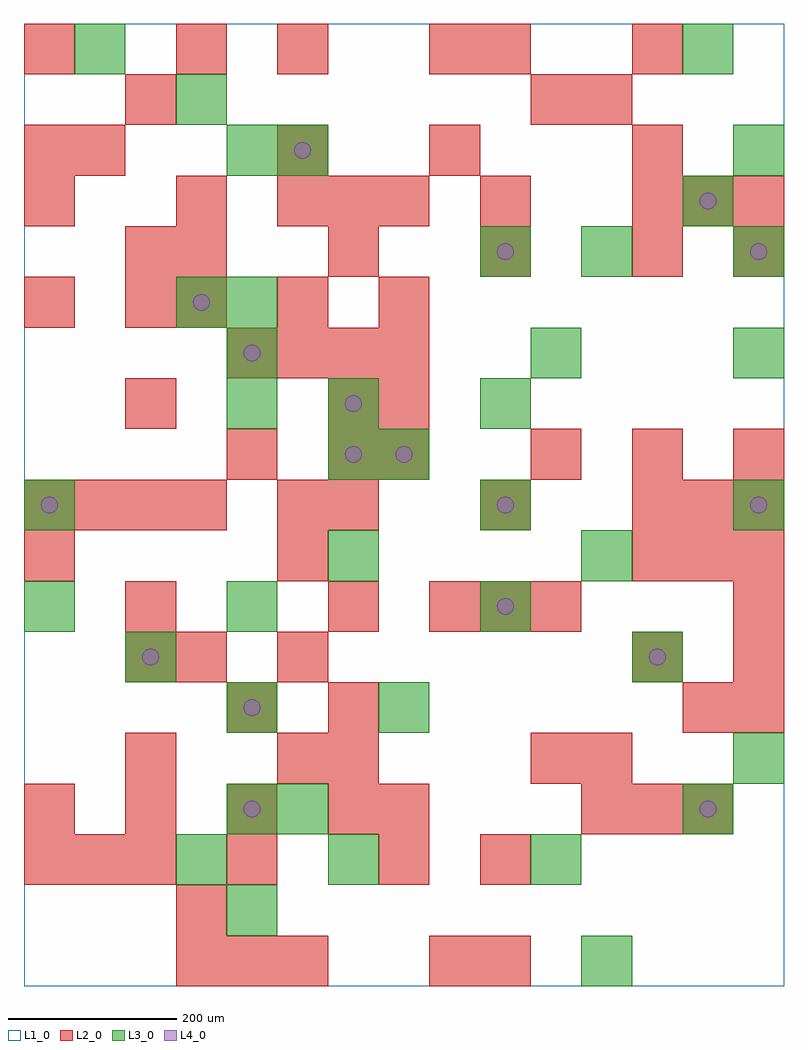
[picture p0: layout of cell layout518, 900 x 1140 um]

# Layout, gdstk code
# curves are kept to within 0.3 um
import gdstk
lib = gdstk.Library(unit=1e-6, precision=1e-09)
def R(c, l, rs):  # rectangles x0, y0, x1, y1
    for r in rs: c.add(gdstk.rectangle(r[:2], r[2:], *l))
def A(c, l, x, y, w, h, nx, ny, dx, dy):  # array of equal rectangles
    R(c, l, [(x+i*dx, y+j*dy, x+i*dx+w, y+j*dy+h) for i in range(nx) for j in range(ny)])
def P(c, l, *ps):  # polygons
    for p in ps: c.add(gdstk.Polygon(p, *l))
L1_0 = (1, 0)
L2_0 = (2, 0)
L3_0 = (3, 0)
L4_0 = (4, 0)

layout518 = lib.new_cell('layout518')
R(layout518, L1_0, [(0,0,900,1140)])
A(layout518, L2_0, 180, 0, 60, 60, 3, 1, 60, 0)
A(layout518, L2_0, 0, 120, 60, 60, 3, 1, 60, 0)
A(layout518, L2_0, 0, 180, 60, 60, 4, 1, 120, 0)
A(layout518, L2_0, 660, 180, 60, 60, 3, 1, 60, 0)
A(layout518, L2_0, 300, 240, 60, 60, 1, 3, 0, 120)
A(layout518, L2_0, 840, 300, 60, 60, 1, 3, 0, 60)
A(layout518, L2_0, 480, 420, 60, 60, 3, 1, 60, 0)
A(layout518, L2_0, 720, 480, 60, 60, 3, 2, 60, 420)
A(layout518, L2_0, 0, 540, 60, 60, 4, 1, 60, 0)
A(layout518, L2_0, 360, 540, 60, 60, 3, 1, 180, 0)
A(layout518, L2_0, 600, 600, 60, 60, 3, 1, 120, 0)
A(layout518, L2_0, 240, 720, 60, 60, 4, 1, 60, 0)
A(layout518, L2_0, 180, 780, 60, 60, 3, 1, 120, 0)
A(layout518, L2_0, 180, 840, 60, 60, 4, 1, 180, 0)
A(layout518, L2_0, 300, 900, 60, 60, 3, 1, 60, 0)
R(layout518, L2_0, [(480,0,540,60), (540,0,600,60), (180,60,240,120), (240,120,300,180), (420,120,480,180), (540,120,600,180), (420,180,480,240), (120,240,180,300), (360,240,420,300), (600,240,660,300), (660,240,720,300), (240,300,300,360), (360,300,420,360), (780,300,840,360), (120,360,180,420), (180,360,240,420), (720,360,780,420), (120,420,180,480), (360,420,420,480), (0,480,60,540), (300,540,360,600), (780,540,840,600), (840,540,900,600), (240,600,300,660), (360,600,420,660), (420,600,480,660), (120,660,180,720), (360,660,420,720), (420,660,480,720), (0,780,60,840), (120,780,180,840), (120,840,180,900), (840,840,900,900), (0,900,60,960), (180,900,240,960), (540,900,600,960), (0,960,60,1020), (60,960,120,1020), (300,960,360,1020), (480,960,540,1020), (720,960,780,1020), (120,1020,180,1080), (600,1020,660,1080), (660,1020,720,1080), (0,1080,60,1140), (180,1080,240,1140), (300,1080,360,1140), (480,1080,540,1140), (540,1080,600,1140), (720,1080,780,1140)])
A(layout518, L3_0, 240, 60, 60, 60, 1, 4, 0, 120)
A(layout518, L3_0, 540, 420, 60, 60, 1, 3, 0, 120)
A(layout518, L3_0, 240, 660, 60, 60, 1, 3, 0, 60)
A(layout518, L3_0, 840, 720, 60, 60, 1, 3, 0, 120)
R(layout518, L3_0, [(660,0,720,60), (180,120,240,180), (360,120,420,180), (600,120,660,180), (300,180,360,240), (780,180,840,240), (840,240,900,300), (420,300,480,360), (120,360,180,420), (720,360,780,420), (0,420,60,480), (360,480,420,540), (660,480,720,540), (0,540,60,600), (840,540,900,600), (360,600,420,660), (420,600,480,660), (360,660,420,720), (600,720,660,780), (180,780,240,840), (540,840,600,900), (660,840,720,900), (780,900,840,960), (240,960,300,1020), (300,960,360,1020), (180,1020,240,1080), (60,1080,120,1140), (780,1080,840,1140)])
P(layout518, L4_0, [(40,570),(39.239,573.827),(37.071,577.071),(33.827,579.239),(30,580),(26.173,579.239),(22.929,577.071),(20.761,573.827),(20,570),(20.761,566.173),(22.929,562.929),(26.173,560.761),(30,560),(33.827,560.761),(37.071,562.929),(39.239,566.173)],
  [(160,390),(159.239,393.827),(157.071,397.071),(153.827,399.239),(150,400),(146.173,399.239),(142.929,397.071),(140.761,393.827),(140,390),(140.761,386.173),(142.929,382.929),(146.173,380.761),(150,380),(153.827,380.761),(157.071,382.929),(159.239,386.173)],
  [(220,810),(219.239,813.827),(217.071,817.071),(213.827,819.239),(210,820),(206.173,819.239),(202.929,817.071),(200.761,813.827),(200,810),(200.761,806.173),(202.929,802.929),(206.173,800.761),(210,800),(213.827,800.761),(217.071,802.929),(219.239,806.173)],
  [(280,210),(279.239,213.827),(277.071,217.071),(273.827,219.239),(270,220),(266.173,219.239),(262.929,217.071),(260.761,213.827),(260,210),(260.761,206.173),(262.929,202.929),(266.173,200.761),(270,200),(273.827,200.761),(277.071,202.929),(279.239,206.173)],
  [(280,330),(279.239,333.827),(277.071,337.071),(273.827,339.239),(270,340),(266.173,339.239),(262.929,337.071),(260.761,333.827),(260,330),(260.761,326.173),(262.929,322.929),(266.173,320.761),(270,320),(273.827,320.761),(277.071,322.929),(279.239,326.173)],
  [(280,750),(279.239,753.827),(277.071,757.071),(273.827,759.239),(270,760),(266.173,759.239),(262.929,757.071),(260.761,753.827),(260,750),(260.761,746.173),(262.929,742.929),(266.173,740.761),(270,740),(273.827,740.761),(277.071,742.929),(279.239,746.173)],
  [(340,990),(339.239,993.827),(337.071,997.071),(333.827,999.239),(330,1000),(326.173,999.239),(322.929,997.071),(320.761,993.827),(320,990),(320.761,986.173),(322.929,982.929),(326.173,980.761),(330,980),(333.827,980.761),(337.071,982.929),(339.239,986.173)],
  [(400,630),(399.239,633.827),(397.071,637.071),(393.827,639.239),(390,640),(386.173,639.239),(382.929,637.071),(380.761,633.827),(380,630),(380.761,626.173),(382.929,622.929),(386.173,620.761),(390,620),(393.827,620.761),(397.071,622.929),(399.239,626.173)],
  [(400,690),(399.239,693.827),(397.071,697.071),(393.827,699.239),(390,700),(386.173,699.239),(382.929,697.071),(380.761,693.827),(380,690),(380.761,686.173),(382.929,682.929),(386.173,680.761),(390,680),(393.827,680.761),(397.071,682.929),(399.239,686.173)],
  [(460,630),(459.239,633.827),(457.071,637.071),(453.827,639.239),(450,640),(446.173,639.239),(442.929,637.071),(440.761,633.827),(440,630),(440.761,626.173),(442.929,622.929),(446.173,620.761),(450,620),(453.827,620.761),(457.071,622.929),(459.239,626.173)],
  [(580,450),(579.239,453.827),(577.071,457.071),(573.827,459.239),(570,460),(566.173,459.239),(562.929,457.071),(560.761,453.827),(560,450),(560.761,446.173),(562.929,442.929),(566.173,440.761),(570,440),(573.827,440.761),(577.071,442.929),(579.239,446.173)],
  [(580,570),(579.239,573.827),(577.071,577.071),(573.827,579.239),(570,580),(566.173,579.239),(562.929,577.071),(560.761,573.827),(560,570),(560.761,566.173),(562.929,562.929),(566.173,560.761),(570,560),(573.827,560.761),(577.071,562.929),(579.239,566.173)],
  [(580,870),(579.239,873.827),(577.071,877.071),(573.827,879.239),(570,880),(566.173,879.239),(562.929,877.071),(560.761,873.827),(560,870),(560.761,866.173),(562.929,862.929),(566.173,860.761),(570,860),(573.827,860.761),(577.071,862.929),(579.239,866.173)],
  [(760,390),(759.239,393.827),(757.071,397.071),(753.827,399.239),(750,400),(746.173,399.239),(742.929,397.071),(740.761,393.827),(740,390),(740.761,386.173),(742.929,382.929),(746.173,380.761),(750,380),(753.827,380.761),(757.071,382.929),(759.239,386.173)],
  [(820,210),(819.239,213.827),(817.071,217.071),(813.827,219.239),(810,220),(806.173,219.239),(802.929,217.071),(800.761,213.827),(800,210),(800.761,206.173),(802.929,202.929),(806.173,200.761),(810,200),(813.827,200.761),(817.071,202.929),(819.239,206.173)],
  [(820,930),(819.239,933.827),(817.071,937.071),(813.827,939.239),(810,940),(806.173,939.239),(802.929,937.071),(800.761,933.827),(800,930),(800.761,926.173),(802.929,922.929),(806.173,920.761),(810,920),(813.827,920.761),(817.071,922.929),(819.239,926.173)],
  [(880,570),(879.239,573.827),(877.071,577.071),(873.827,579.239),(870,580),(866.173,579.239),(862.929,577.071),(860.761,573.827),(860,570),(860.761,566.173),(862.929,562.929),(866.173,560.761),(870,560),(873.827,560.761),(877.071,562.929),(879.239,566.173)],
  [(880,870),(879.239,873.827),(877.071,877.071),(873.827,879.239),(870,880),(866.173,879.239),(862.929,877.071),(860.761,873.827),(860,870),(860.761,866.173),(862.929,862.929),(866.173,860.761),(870,860),(873.827,860.761),(877.071,862.929),(879.239,866.173)])

lib.write_gds('layout518.gds')
